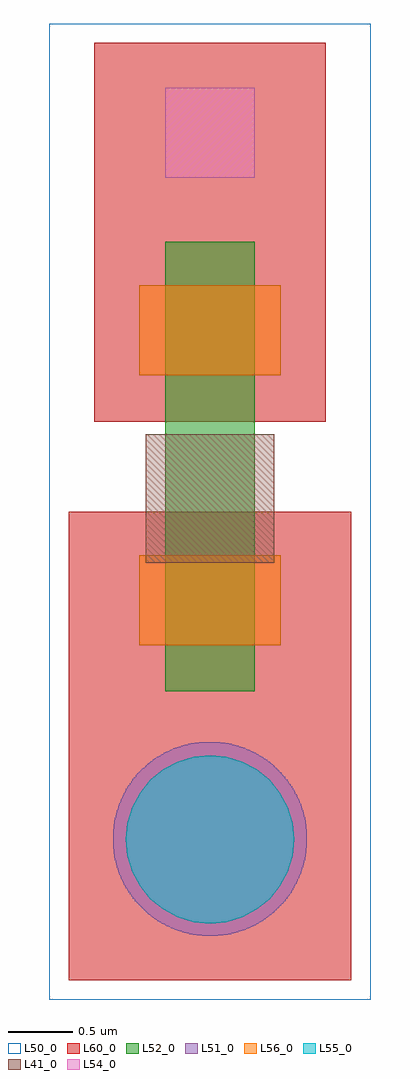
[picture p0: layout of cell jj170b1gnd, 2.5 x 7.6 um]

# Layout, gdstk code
import gdstk
lib = gdstk.Library(unit=1e-6, precision=1e-09)
def R(c, l, rs):  # rectangles x0, y0, x1, y1
    for r in rs: c.add(gdstk.rectangle(r[:2], r[2:], *l))
def P(c, l, *ps):  # polygons
    for p in ps: c.add(gdstk.Polygon(p, *l))
L41_0 = (41, 0)
L50_0 = (50, 0)
L51_0 = (51, 0)
L52_0 = (52, 0)
L54_0 = (54, 0)
L55_0 = (55, 0)
L56_0 = (56, 0)
L60_0 = (60, 0)

jj170b1gnd = lib.new_cell('jj170b1gnd')
R(jj170b1gnd, L41_0, [(-0.5,2.15,0.5,3.15)])
R(jj170b1gnd, L50_0, [(-1.25,-1.25,1.25,6.35)])
P(jj170b1gnd, L51_0, [(0,-0.755),(0.06,-0.755),(0.06,-0.75),(0.105,-0.75),(0.105,-0.745),(0.14,-0.745),(0.14,-0.74),(0.165,-0.74),(0.165,-0.735),(0.185,-0.735),(0.185,-0.73),(0.2,-0.73),(0.2,-0.725),(0.22,-0.725),(0.22,-0.72),(0.235,-0.72),(0.235,-0.715),(0.25,-0.715),(0.25,-0.71),(0.265,-0.71),(0.265,-0.705),(0.28,-0.705),(0.28,-0.7),(0.29,-0.7),(0.29,-0.695),(0.3,-0.695),(0.3,-0.69),(0.315,-0.69),(0.315,-0.685),(0.325,-0.685),(0.325,-0.68),(0.335,-0.68),(0.335,-0.675),(0.345,-0.675),(0.345,-0.67),(0.355,-0.67),(0.355,-0.665),(0.365,-0.665),(0.365,-0.66),(0.375,-0.66),(0.375,-0.655),(0.38,-0.655),(0.38,-0.65),(0.39,-0.65),(0.39,-0.645),(0.4,-0.645),(0.4,-0.64),(0.405,-0.64),(0.405,-0.635),(0.415,-0.635),(0.415,-0.63),(0.42,-0.63),(0.42,-0.625),(0.43,-0.625),(0.43,-0.62),(0.435,-0.62),(0.435,-0.615),(0.44,-0.615),(0.44,-0.61),(0.45,-0.61),(0.45,-0.605),(0.455,-0.605),(0.455,-0.6),(0.46,-0.6),(0.46,-0.595),(0.47,-0.595),(0.47,-0.59),(0.475,-0.59),(0.475,-0.585),(0.48,-0.585),(0.48,-0.58),(0.49,-0.58),(0.49,-0.575),(0.495,-0.575),(0.495,-0.57),(0.5,-0.57),(0.5,-0.565),(0.505,-0.565),(0.505,-0.56),(0.51,-0.56),(0.51,-0.555),(0.515,-0.555),(0.515,-0.55),(0.52,-0.55),(0.52,-0.545),(0.525,-0.545),(0.525,-0.54),(0.53,-0.54),(0.53,-0.535),(0.535,-0.535),(0.535,-0.53),(0.54,-0.53),(0.54,-0.525),(0.545,-0.525),(0.545,-0.52),(0.55,-0.52),(0.55,-0.515),(0.555,-0.515),(0.555,-0.51),(0.56,-0.51),(0.56,-0.505),(0.565,-0.505),(0.565,-0.5),(0.57,-0.5),(0.57,-0.495),(0.575,-0.495),(0.575,-0.49),(0.58,-0.49),(0.58,-0.485),(0.585,-0.485),(0.585,-0.48),(0.59,-0.48),(0.59,-0.475),(0.59,-0.465),(0.595,-0.465),(0.6,-0.465),(0.6,-0.46),(0.605,-0.46),(0.605,-0.455),(0.605,-0.445),(0.61,-0.445),(0.615,-0.445),(0.615,-0.44),(0.62,-0.44),(0.62,-0.435),(0.62,-0.425),(0.625,-0.425),(0.63,-0.425),(0.63,-0.42),(0.635,-0.42),(0.635,-0.415),(0.635,-0.405),(0.64,-0.405),(0.64,-0.395),(0.645,-0.395),(0.65,-0.395),(0.65,-0.39),(0.65,-0.38),(0.655,-0.38),(0.655,-0.37),(0.66,-0.37),(0.66,-0.36),(0.665,-0.36),(0.665,-0.35),(0.67,-0.35),(0.675,-0.35),(0.675,-0.345),(0.675,-0.335),(0.68,-0.335),(0.68,-0.325),(0.685,-0.325),(0.685,-0.31),(0.69,-0.31),(0.69,-0.3),(0.695,-0.3),(0.695,-0.29),(0.7,-0.29),(0.7,-0.275),(0.705,-0.275),(0.705,-0.265),(0.71,-0.265),(0.71,-0.25),(0.715,-0.25),(0.715,-0.235),(0.72,-0.235),(0.72,-0.22),(0.725,-0.22),(0.725,-0.205),(0.73,-0.205),(0.73,-0.185),(0.735,-0.185),(0.735,-0.165),(0.74,-0.165),(0.74,-0.14),(0.745,-0.14),(0.745,-0.11),(0.75,-0.11),(0.75,-0.07),(0.755,-0.07),(0.755,0.075),(0.75,0.075),(0.75,0.115),(0.745,0.115),(0.745,0.145),(0.74,0.145),(0.74,0.17),(0.735,0.17),(0.735,0.19),(0.73,0.19),(0.73,0.21),(0.725,0.21),(0.725,0.225),(0.72,0.225),(0.72,0.24),(0.715,0.24),(0.715,0.255),(0.71,0.255),(0.71,0.27),(0.705,0.27),(0.705,0.28),(0.7,0.28),(0.7,0.295),(0.695,0.295),(0.695,0.305),(0.69,0.305),(0.69,0.315),(0.685,0.315),(0.685,0.325),(0.68,0.325),(0.68,0.34),(0.675,0.34),(0.675,0.35),(0.67,0.35),(0.665,0.35),(0.665,0.355),(0.665,0.365),(0.66,0.365),(0.66,0.375),(0.655,0.375),(0.655,0.385),(0.65,0.385),(0.65,0.395),(0.645,0.395),(0.64,0.395),(0.64,0.4),(0.64,0.41),(0.635,0.41),(0.63,0.41),(0.63,0.415),(0.63,0.425),(0.625,0.425),(0.62,0.425),(0.62,0.43),(0.615,0.43),(0.615,0.435),(0.615,0.445),(0.61,0.445),(0.605,0.445),(0.605,0.45),(0.605,0.46),(0.6,0.46),(0.595,0.46),(0.595,0.465),(0.59,0.465),(0.59,0.47),(0.585,0.47),(0.585,0.475),(0.585,0.485),(0.58,0.485),(0.575,0.485),(0.575,0.49),(0.57,0.49),(0.57,0.495),(0.565,0.495),(0.565,0.5),(0.56,0.5),(0.56,0.505),(0.56,0.515),(0.555,0.515),(0.55,0.515),(0.55,0.52),(0.545,0.52),(0.545,0.525),(0.54,0.525),(0.54,0.53),(0.535,0.53),(0.535,0.535),(0.53,0.535),(0.53,0.54),(0.525,0.54),(0.525,0.545),(0.52,0.545),(0.52,0.55),(0.515,0.55),(0.515,0.555),(0.51,0.555),(0.51,0.56),(0.505,0.56),(0.505,0.565),(0.5,0.565),(0.5,0.57),(0.495,0.57),(0.495,0.575),(0.49,0.575),(0.49,0.58),(0.48,0.58),(0.48,0.585),(0.475,0.585),(0.475,0.59),(0.47,0.59),(0.47,0.595),(0.465,0.595),(0.465,0.6),(0.455,0.6),(0.455,0.605),(0.45,0.605),(0.45,0.61),(0.445,0.61),(0.445,0.615),(0.435,0.615),(0.435,0.62),(0.43,0.62),(0.43,0.625),(0.42,0.625),(0.42,0.63),(0.415,0.63),(0.415,0.635),(0.405,0.635),(0.405,0.64),(0.4,0.64),(0.4,0.645),(0.39,0.645),(0.39,0.65),(0.38,0.65),(0.38,0.655),(0.375,0.655),(0.375,0.66),(0.365,0.66),(0.365,0.665),(0.355,0.665),(0.355,0.67),(0.345,0.67),(0.345,0.675),(0.335,0.675),(0.335,0.68),(0.325,0.68),(0.325,0.685),(0.315,0.685),(0.315,0.69),(0.305,0.69),(0.305,0.695),(0.29,0.695),(0.29,0.7),(0.28,0.7),(0.28,0.705),(0.27,0.705),(0.27,0.71),(0.255,0.71),(0.255,0.715),(0.24,0.715),(0.24,0.72),(0.225,0.72),(0.225,0.725),(0.205,0.725),(0.205,0.73),(0.19,0.73),(0.19,0.735),(0.17,0.735),(0.17,0.74),(0.145,0.74),(0.145,0.745),(0.12,0.745),(0.12,0.75),(0.08,0.75),(0.08,0.755),(-0.085,0.755),(-0.085,0.75),(-0.12,0.75),(-0.12,0.745),(-0.15,0.745),(-0.15,0.74),(-0.17,0.74),(-0.17,0.735),(-0.195,0.735),(-0.195,0.73),(-0.21,0.73),(-0.21,0.725),(-0.225,0.725),(-0.225,0.72),(-0.245,0.72),(-0.245,0.715),(-0.255,0.715),(-0.255,0.71),(-0.27,0.71),(-0.27,0.705),(-0.285,0.705),(-0.285,0.7),(-0.295,0.7),(-0.295,0.695),(-0.305,0.695),(-0.305,0.69),(-0.315,0.69),(-0.315,0.685),(-0.33,0.685),(-0.33,0.68),(-0.34,0.68),(-0.34,0.675),(-0.35,0.675),(-0.35,0.67),(-0.36,0.67),(-0.36,0.665),(-0.365,0.665),(-0.365,0.66),(-0.375,0.66),(-0.375,0.655),(-0.385,0.655),(-0.385,0.65),(-0.39,0.65),(-0.39,0.645),(-0.4,0.645),(-0.4,0.64),(-0.41,0.64),(-0.41,0.635),(-0.42,0.635),(-0.42,0.63),(-0.425,0.63),(-0.425,0.625),(-0.43,0.625),(-0.43,0.62),(-0.44,0.62),(-0.44,0.615),(-0.445,0.615),(-0.445,0.61),(-0.45,0.61),(-0.45,0.605),(-0.46,0.605),(-0.46,0.6),(-0.465,0.6),(-0.465,0.595),(-0.47,0.595),(-0.47,0.59),(-0.48,0.59),(-0.48,0.585),(-0.485,0.585),(-0.485,0.58),(-0.49,0.58),(-0.49,0.575),(-0.495,0.575),(-0.495,0.57),(-0.5,0.57),(-0.5,0.565),(-0.505,0.565),(-0.505,0.56),(-0.51,0.56),(-0.51,0.555),(-0.515,0.555),(-0.515,0.55),(-0.525,0.55),(-0.525,0.545),(-0.53,0.545),(-0.53,0.54),(-0.535,0.54),(-0.535,0.535),(-0.54,0.535),(-0.54,0.53),(-0.545,0.53),(-0.545,0.525),(-0.55,0.525),(-0.55,0.52),(-0.555,0.52),(-0.555,0.515),(-0.56,0.515),(-0.56,0.51),(-0.565,0.51),(-0.565,0.505),(-0.57,0.505),(-0.57,0.5),(-0.575,0.5),(-0.575,0.495),(-0.58,0.495),(-0.58,0.49),(-0.58,0.48),(-0.585,0.48),(-0.59,0.48),(-0.59,0.475),(-0.595,0.475),(-0.595,0.47),(-0.6,0.47),(-0.6,0.465),(-0.605,0.465),(-0.605,0.46),(-0.605,0.45),(-0.61,0.45),(-0.615,0.45),(-0.615,0.445),(-0.615,0.435),(-0.62,0.435),(-0.625,0.435),(-0.625,0.43),(-0.625,0.42),(-0.63,0.42),(-0.635,0.42),(-0.635,0.415),(-0.635,0.405),(-0.64,0.405),(-0.645,0.405),(-0.645,0.4),(-0.645,0.39),(-0.65,0.39),(-0.655,0.39),(-0.655,0.385),(-0.655,0.375),(-0.66,0.375),(-0.66,0.365),(-0.665,0.365),(-0.665,0.355),(-0.67,0.355),(-0.67,0.345),(-0.675,0.345),(-0.675,0.335),(-0.68,0.335),(-0.68,0.325),(-0.685,0.325),(-0.685,0.315),(-0.69,0.315),(-0.69,0.305),(-0.695,0.305),(-0.695,0.29),(-0.7,0.29),(-0.7,0.28),(-0.705,0.28),(-0.705,0.265),(-0.71,0.265),(-0.71,0.255),(-0.715,0.255),(-0.715,0.235),(-0.72,0.235),(-0.72,0.225),(-0.725,0.225),(-0.725,0.205),(-0.73,0.205),(-0.73,0.185),(-0.735,0.185),(-0.735,0.165),(-0.74,0.165),(-0.74,0.145),(-0.745,0.145),(-0.745,0.115),(-0.75,0.115),(-0.75,0.075),(-0.755,0.075),(-0.755,-0.075),(-0.75,-0.075),(-0.75,-0.115),(-0.745,-0.115),(-0.745,-0.145),(-0.74,-0.145),(-0.74,-0.165),(-0.735,-0.165),(-0.735,-0.185),(-0.73,-0.185),(-0.73,-0.205),(-0.725,-0.205),(-0.725,-0.225),(-0.72,-0.225),(-0.72,-0.24),(-0.715,-0.24),(-0.715,-0.255),(-0.71,-0.255),(-0.71,-0.265),(-0.705,-0.265),(-0.705,-0.28),(-0.7,-0.28),(-0.7,-0.29),(-0.695,-0.29),(-0.695,-0.305),(-0.69,-0.305),(-0.69,-0.315),(-0.685,-0.315),(-0.685,-0.325),(-0.68,-0.325),(-0.68,-0.335),(-0.675,-0.335),(-0.675,-0.345),(-0.67,-0.345),(-0.67,-0.355),(-0.665,-0.355),(-0.665,-0.365),(-0.66,-0.365),(-0.66,-0.375),(-0.655,-0.375),(-0.655,-0.385),(-0.65,-0.385),(-0.645,-0.385),(-0.645,-0.39),(-0.645,-0.4),(-0.64,-0.4),(-0.635,-0.4),(-0.635,-0.405),(-0.635,-0.415),(-0.63,-0.415),(-0.625,-0.415),(-0.625,-0.42),(-0.625,-0.43),(-0.62,-0.43),(-0.615,-0.43),(-0.615,-0.435),(-0.615,-0.445),(-0.61,-0.445),(-0.605,-0.445),(-0.605,-0.45),(-0.6,-0.45),(-0.6,-0.455),(-0.6,-0.465),(-0.595,-0.465),(-0.59,-0.465),(-0.59,-0.47),(-0.585,-0.47),(-0.585,-0.475),(-0.585,-0.485),(-0.58,-0.485),(-0.575,-0.485),(-0.575,-0.49),(-0.57,-0.49),(-0.57,-0.495),(-0.565,-0.495),(-0.565,-0.5),(-0.56,-0.5),(-0.56,-0.505),(-0.555,-0.505),(-0.555,-0.51),(-0.55,-0.51),(-0.55,-0.515),(-0.545,-0.515),(-0.545,-0.52),(-0.54,-0.52),(-0.54,-0.525),(-0.535,-0.525),(-0.535,-0.53),(-0.53,-0.53),(-0.53,-0.535),(-0.525,-0.535),(-0.525,-0.54),(-0.52,-0.54),(-0.52,-0.545),(-0.515,-0.545),(-0.515,-0.55),(-0.51,-0.55),(-0.51,-0.555),(-0.505,-0.555),(-0.505,-0.56),(-0.5,-0.56),(-0.5,-0.565),(-0.495,-0.565),(-0.495,-0.57),(-0.49,-0.57),(-0.49,-0.575),(-0.485,-0.575),(-0.485,-0.58),(-0.48,-0.58),(-0.48,-0.585),(-0.475,-0.585),(-0.475,-0.59),(-0.465,-0.59),(-0.465,-0.595),(-0.46,-0.595),(-0.46,-0.6),(-0.455,-0.6),(-0.455,-0.605),(-0.45,-0.605),(-0.45,-0.61),(-0.44,-0.61),(-0.44,-0.615),(-0.435,-0.615),(-0.435,-0.62),(-0.425,-0.62),(-0.425,-0.625),(-0.42,-0.625),(-0.42,-0.63),(-0.41,-0.63),(-0.41,-0.635),(-0.405,-0.635),(-0.405,-0.64),(-0.395,-0.64),(-0.395,-0.645),(-0.39,-0.645),(-0.39,-0.65),(-0.38,-0.65),(-0.38,-0.655),(-0.37,-0.655),(-0.37,-0.66),(-0.36,-0.66),(-0.36,-0.665),(-0.35,-0.665),(-0.35,-0.67),(-0.34,-0.67),(-0.34,-0.675),(-0.335,-0.675),(-0.335,-0.68),(-0.32,-0.68),(-0.32,-0.685),(-0.31,-0.685),(-0.31,-0.69),(-0.3,-0.69),(-0.3,-0.695),(-0.29,-0.695),(-0.29,-0.7),(-0.275,-0.7),(-0.275,-0.705),(-0.26,-0.705),(-0.26,-0.71),(-0.25,-0.71),(-0.25,-0.715),(-0.235,-0.715),(-0.235,-0.72),(-0.215,-0.72),(-0.215,-0.725),(-0.2,-0.725),(-0.2,-0.73),(-0.18,-0.73),(-0.18,-0.735),(-0.16,-0.735),(-0.16,-0.74),(-0.135,-0.74),(-0.135,-0.745),(-0.105,-0.745),(-0.105,-0.75),(-0.06,-0.75),(-0.06,-0.755)])
R(jj170b1gnd, L52_0, [(-0.35,1.15,0.35,4.65)])
R(jj170b1gnd, L54_0, [(-0.35,5.15,0.35,5.85)])
P(jj170b1gnd, L55_0, [(0,-0.66),(0.128,-0.647),(0.251,-0.61),(0.364,-0.549),(0.464,-0.468),(0.545,-0.368),(0.606,-0.255),(0.643,-0.132),(0.656,-0.004),(0.643,0.124),(0.606,0.247),(0.545,0.36),(0.464,0.46),(0.364,0.541),(0.251,0.602),(0.128,0.639),(0,0.652),(-0.128,0.639),(-0.251,0.602),(-0.364,0.541),(-0.464,0.46),(-0.545,0.36),(-0.606,0.247),(-0.643,0.124),(-0.656,-0.004),(-0.643,-0.132),(-0.606,-0.255),(-0.545,-0.368),(-0.464,-0.468),(-0.364,-0.549),(-0.251,-0.61),(-0.128,-0.647)])
R(jj170b1gnd, L56_0, [(-0.55,1.51,0.55,2.21), (-0.55,3.61,0.55,4.31)])
R(jj170b1gnd, L60_0, [(-1.1,-1.1,1.1,2.55), (-0.9,3.25,0.9,6.2)])

lib.write_gds('jj170b1gnd.gds')
